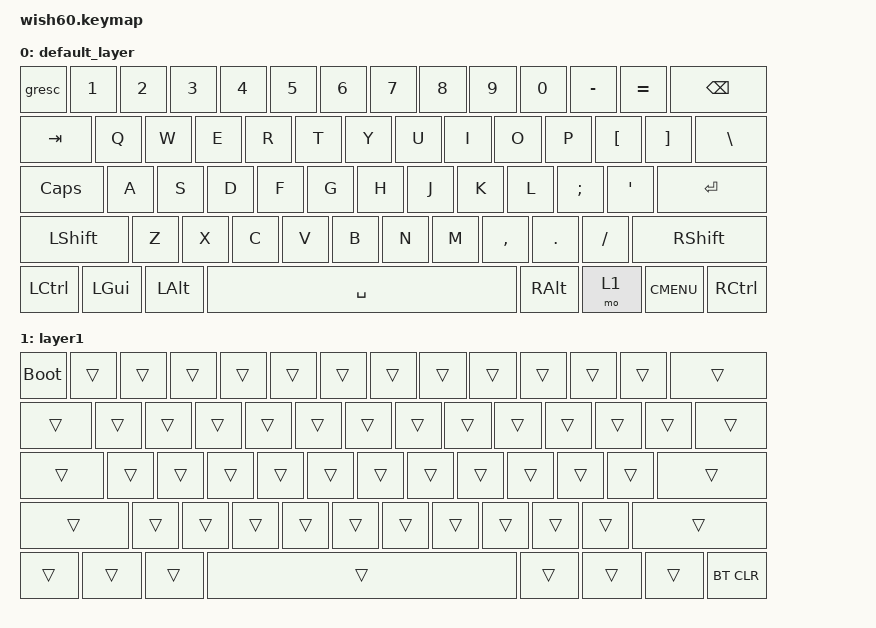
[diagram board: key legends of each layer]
/*
 * Copyright (c) 2021 Nick Winans
 *
 * SPDX-License-Identifier: MIT
 */

#include <behaviors.dtsi>
#include <dt-bindings/zmk/keys.h>
#include <dt-bindings/zmk/rgb.h>
#include <dt-bindings/zmk/bt.h>

#define ZMK_POINTING_DEFAULT_MOVE_VAL 3000  // default: 600
#define ZMK_POINTING_DEFAULT_SCRL_VAL 40    // default: 10

#include <dt-bindings/zmk/pointing.h>


&soft_off {
  hold-time-ms = <3000>; 
};

/ {
    keymap {
        compatible = "zmk,keymap";

        default_layer {
            // ------------------------------------------------------------------------------------------
            // | ESC |  1  |  2  |  3  |  4  |  5  |  6  |  7  |  8  |  9  |  0  |  -  |  =  |   BSPC   |
            // |  TAB  |  Q  |  W  |  E  |  R  |  T  |  Y  |  U  |  I  |  O  |  P  |  [  |  ]  |   |    |
            // |  CAPS  |  A  |  S  |  D  |  F  |  G  |  H  |  J  |  K  |  L  |  ;  |  '  |    ENTER    |
            // |  SHIFT    |  Z  |  X  |  C  |  V  |  B  |  N  |  M  |  ,  |  .  | /   |      SHIFT     |
            // |  CTL  |  WIN  |  ALT  |            SPACE              | ALT | 1    |  MENU    |  CTRL  |
            // ------------------------------------------------------------------------------------------
            bindings = <
            &gresc     &kp N1   &kp N2 &kp N3 &kp N4 &kp N5 &kp N6 &kp N7 &kp  N8   &kp  N9   &kp  N0  &kp MINUS   &kp EQUAL &kp BSPC
            &kp TAB    &kp Q    &kp W  &kp E  &kp R  &kp T  &kp Y  &kp U  &kp  I    &kp  O    &kp  P   &kp LBKT    &kp RBKT  &kp BSLH
            &kp CLCK   &kp A    &kp S  &kp D  &kp F  &kp G  &kp H  &kp J  &kp  K    &kp  L    &kp SEMI &kp SQT     &kp RET
            &kp LSHFT  &kp Z    &kp X  &kp C  &kp V  &kp B  &kp N  &kp M  &kp COMMA &kp DOT   &kp FSLH             &kp RSHFT
            &kp LCTRL  &kp LGUI &kp LALT                    &kp SPACE               &kp RALT  &mo 1    &kp K_CMENU &kp RCTRL             
          >;
        };

        layer1 {
          bindings = <
            &bootloader  &trans &trans  &trans  &trans  &trans  &trans  &trans  &trans  &trans  &trans  &trans  &trans  &trans
            &trans       &trans &trans  &trans  &trans  &trans  &trans  &trans  &trans  &trans  &trans  &trans  &trans  &trans
            &trans       &trans &trans  &trans  &trans  &trans  &trans  &trans  &trans  &trans  &trans  &trans  &trans
            &trans       &trans &trans  &trans  &trans  &trans  &trans  &trans  &trans  &trans  &trans          &trans
            &trans       &trans &trans                          &trans                  &trans  &trans  &trans  &bt BT_CLR
          >;
        };             
    };
};
